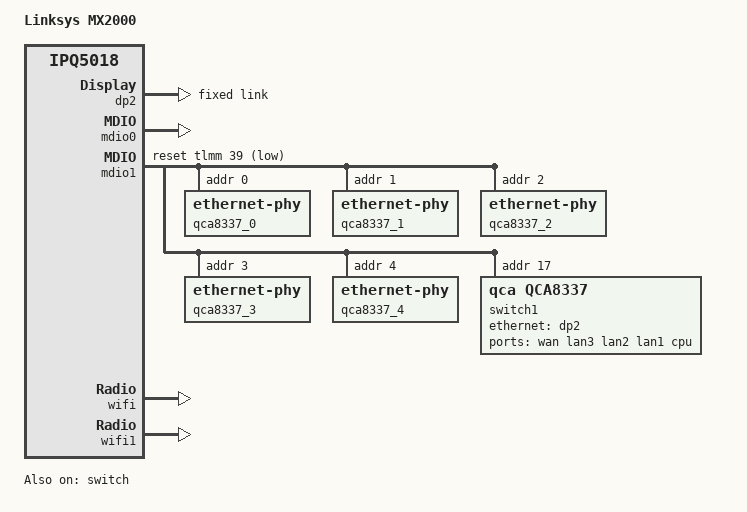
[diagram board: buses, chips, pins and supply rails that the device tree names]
/dts-v1/;

#include "ipq5018.dtsi"
#include "ipq5018-mx-base.dtsi"
#include "ipq5018-qcn6122.dtsi"

/ {
	model = "Linksys MX2000";
	compatible = "linksys,mx2000", "qcom,ipq5018";
};

/*
 * ===============================================================
 *     _______________________         _______________________
 *    |        IPQ5018        |       |        QCA8337        |
 *    | +------+   +--------+ |       | +--------+   +------+ |
 *    | | MAC0 |---| GE Phy | |       | |  Phy0  |---| MAC1 | |
 *    | +------+   +--------+ |       | +--------+   +------+ |
 *    | +------+   +--------+ |       | +--------+   +------+ |
 *    | | MAC1 |---| Uniphy |-+-SGMII-+-| SerDes |---| MAC6 | |
 *    | +------+   +--------+ |       | +--------+   +------+ |
 *    |_______________________|       |_______________________|
 *
 * ===============================================================
 */

&switch {
	status = "okay";

	switch_mac_mode = <MAC_MODE_SGMII_CHANNEL0>;

	qcom,port_phyinfo {
		// MAC0 -> GE Phy -> QCA8337 Phy4
		port@0 {
			port_id = <1>;
			mdiobus = <&mdio0>;
			phy_address = <7>;
		};

		// MAC1 ---SGMII---> QCA8337 SerDes
		port@1 {
			port_id = <2>;
			forced-speed = <1000>;
			forced-duplex = <1>;
		};
	};
};

// MAC1 ---SGMII---> QCA8337 SerDes
&dp2 {
	status = "okay";

	nvmem-cells = <&hw_mac_addr 0>;
	nvmem-cell-names = "mac-address";

	fixed-link {
		speed = <1000>;
		full-duplex;
	};
};

&mdio0 {
	status = "okay";
};

&mdio1 {
	status = "okay";

	pinctrl-0 = <&mdio1_pins>;
	pinctrl-names = "default";
	reset-gpios = <&tlmm 39 GPIO_ACTIVE_LOW>;

	// QCA8337 Phy0 not connected
	qca8337_0: ethernet-phy@0 {
		reg = <0>;
	};

	// QCA8337 Phy1 -> WAN
	qca8337_1: ethernet-phy@1 {
		reg = <1>;
	};

	// QCA8337 Phy2 -> LAN1
	qca8337_2: ethernet-phy@2 {
		reg = <2>;
	};

	// QCA8337 Phy3 -> LAN2
	qca8337_3: ethernet-phy@3 {
		reg = <3>;
	};

	// QCA8337 Phy4 -> LAN3
	qca8337_4: ethernet-phy@4 {
		reg = <4>;
	};

	// QCA8337 switch
	switch1: ethernet-switch@17 {
		compatible = "qca,qca8337";
		reg = <17>;
		#address-cells = <1>;
		#size-cells = <0>;

		ports {
			#address-cells = <1>;
			#size-cells = <0>;

			port@2 {
				reg = <2>;
				label = "wan";
				phy-handle = <&qca8337_1>;
			};

			port@3 {
				reg = <3>;
				label = "lan3";
				phy-handle = <&qca8337_2>;
			};

			port@4 {
				reg = <4>;
				label = "lan2";
				phy-handle = <&qca8337_3>;
			};

			port@5 {
				reg = <5>;
				label = "lan1";
				phy-handle = <&qca8337_4>;
			};

			port@6 {
				reg = <6>;
				label = "cpu";
				phy-mode = "sgmii";
				ethernet = <&dp2>;
				qca,sgmii-enable-pll;

				fixed-link {
					speed = <1000>;
					full-duplex;
				};
			};
		};
	};
};

&q6v5_wcss {
	/* The QCN6102 radio should map to UPD ID 2. Without       */
	/* bootargs, the firmware will expect it to be on UPD ID 3 */
	boot-args = <
			/*       type:	*/	0x1	/* PCIE0	*/
			/*     length:	*/	4
			/*     UPD ID:	*/	2
			/* reset GPIO:	*/	15
			/*   reserved:	*/	0 0>;
};

&wifi {
	status = "okay";

	qcom,rproc = <&q6_wcss_pd1>;
	qcom,ath11k-calibration-variant = "Linksys-MX2000";
	qcom,ath11k-fw-memory-mode = <1>;
	qcom,bdf-addr = <0x4c400000>;
};

&wifi1 {
	status = "okay";

	qcom,rproc = <&q6_wcss_pd2>;
	qcom,userpd-subsys-name = "q6v5_wcss_userpd2";
	qcom,ath11k-calibration-variant = "Linksys-MX2000";
	qcom,ath11k-fw-memory-mode = <1>;
	qcom,bdf-addr = <0x4d100000>;
	qcom,m3-dump-addr = <0x4df00000>;
};
